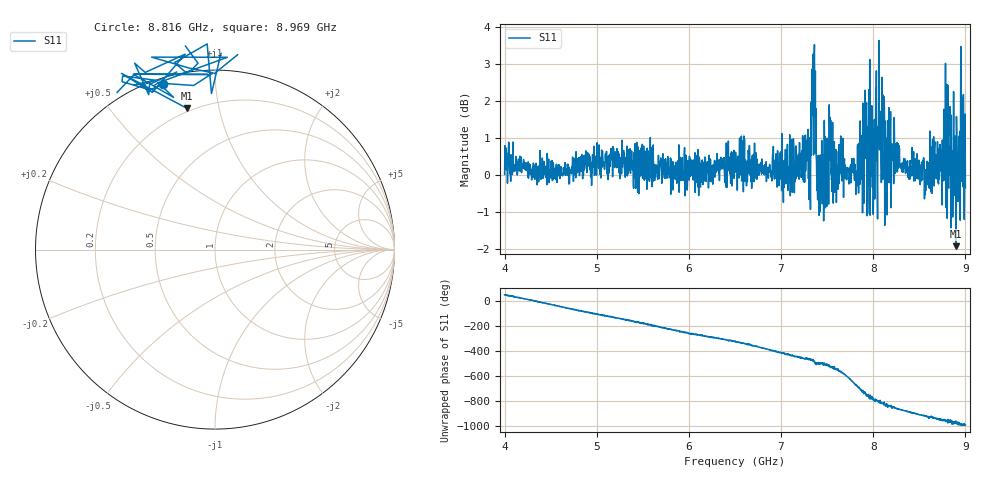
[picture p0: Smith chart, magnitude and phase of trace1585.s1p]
! Created with skrf 1.8.0 (http://scikit-rf.org).
# Hz S RI R 50.0
!freq ReS11 ImS11
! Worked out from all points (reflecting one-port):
!   1601 points, 4 GHz to 9 GHz, reference 50 ohm
!   lowest |S11| = -1.9 dB at 8.9 GHz (marker M1), VSWR 9.13, Z = 9.09 + j40.2 ohm
!   phase of S11 starts at 51 deg and turns -1045 deg over the sweep
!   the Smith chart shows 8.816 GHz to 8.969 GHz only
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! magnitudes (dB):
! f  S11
! 4 GHz  0.0
! 4.625 GHz  0.0
! 5.25 GHz  -0.1
! 5.875 GHz  -0.1
! 6.5 GHz  0.2
! 7.125 GHz  0.6
! 7.294 GHz  1.2
! 7.328 GHz  0.5
! 7.347 GHz  3.3
! 7.362 GHz  3.5
! 7.412 GHz  -1.1
! 7.512 GHz  0.9
! 7.588 GHz  -0.1
! 7.647 GHz  1.1
! 7.75 GHz  0.0
! 7.831 GHz  0.8
! 7.928 GHz  2.0
! 7.991 GHz  -0.3
! 8.088 GHz  -0.2
! 8.216 GHz  0.5
! 8.375 GHz  0.2
! 8.588 GHz  0.2
! 8.656 GHz  1.0
! 8.728 GHz  0.2
! 8.788 GHz  0.0
! 8.9 GHz  -1.9
! 8.972 GHz  0.2
! 9 GHz  -0.3
